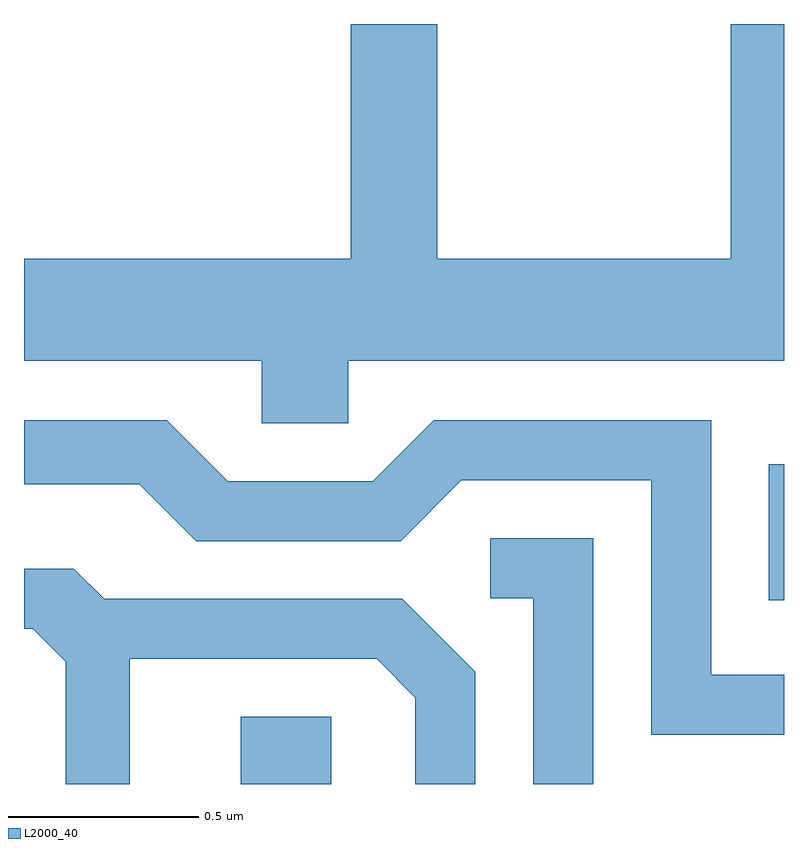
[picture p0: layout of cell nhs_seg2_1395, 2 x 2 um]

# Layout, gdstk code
import gdstk
lib = gdstk.Library(unit=1e-6, precision=1e-09)
def R(c, l, rs):  # rectangles x0, y0, x1, y1
    for r in rs: c.add(gdstk.rectangle(r[:2], r[2:], *l))
def P(c, l, *ps):  # polygons
    for p in ps: c.add(gdstk.Polygon(p, *l))
L2000_40 = (2000, 40)

nhs_seg2_1395 = lib.new_cell('nhs_seg2_1395')
R(nhs_seg2_1395, L2000_40, [(196.181,1002.802,196.419,1002.979), (197.571,1003.286,197.611,1003.643)])
P(nhs_seg2_1395, L2000_40, [(196.464,1003.916),(197.611,1003.916),(197.611,1004.802),(197.471,1004.802),(197.471,1004.184),(196.699,1004.184),(196.699,1004.802),(196.471,1004.802),(196.471,1004.184),(195.611,1004.184),(195.611,1003.916),(196.236,1003.916),(196.236,1003.751),(196.464,1003.751)],
  [(197.611,1003.089),(197.419,1003.089),(197.419,1003.759),(196.689,1003.759),(196.529,1003.599),(196.147,1003.599),(195.987,1003.759),(195.611,1003.759),(195.611,1003.591),(195.914,1003.591),(196.064,1003.441),(196.602,1003.441),(196.762,1003.601),(197.261,1003.601),(197.261,1002.931),(197.611,1002.931)],
  [(197.109,1003.449),(196.838,1003.449),(196.838,1003.291),(196.951,1003.291),(196.951,1002.802),(197.109,1002.802)],
  [(195.889,1003.131),(196.539,1003.131),(196.641,1003.029),(196.641,1002.802),(196.799,1002.802),(196.799,1003.097),(196.607,1003.289),(195.822,1003.289),(195.742,1003.369),(195.611,1003.369),(195.611,1003.211),(195.634,1003.211),(195.721,1003.124),(195.721,1002.802),(195.889,1002.802)])

lib.write_gds('nhs_seg2_1395.gds')
